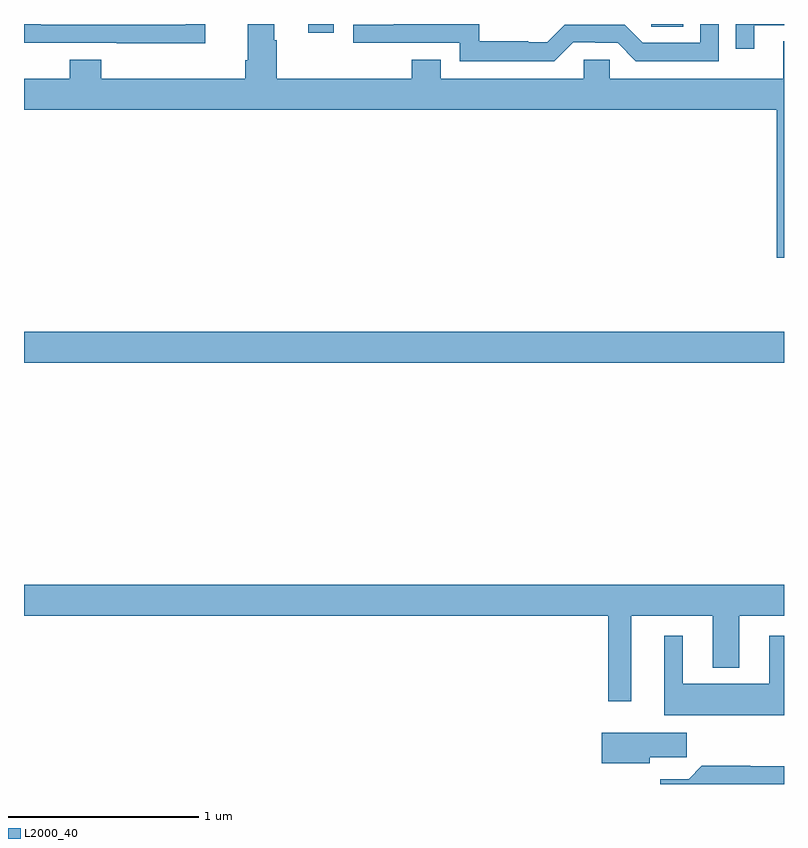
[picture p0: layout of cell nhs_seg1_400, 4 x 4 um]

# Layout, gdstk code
import gdstk
lib = gdstk.Library(unit=1e-6, precision=1e-09)
def R(c, l, rs):  # rectangles x0, y0, x1, y1
    for r in rs: c.add(gdstk.rectangle(r[:2], r[2:], *l))
def P(c, l, *ps):  # polygons
    for p in ps: c.add(gdstk.Polygon(p, *l))
L2000_40 = (2000, 40)

nhs_seg1_400 = lib.new_cell('nhs_seg1_400')
R(nhs_seg1_400, L2000_40, [(133,534.416,137,534.58), (134.495,536.154,134.631,536.199), (136.302,536.185,136.47,536.199)])
P(nhs_seg1_400, L2000_40, [(135.891,536.103),(136.007,536.103),(136.007,536.1),(136.125,536.1),(136.221,536.004),(136.656,536.004),(136.656,536.199),(136.56,536.199),(136.56,536.1),(136.257,536.1),(136.161,536.196),(135.846,536.196),(135.753,536.103),(135.653,536.103),(135.653,536.107),(135.396,536.107),(135.396,536.199),(134.946,536.199),(134.946,536.196),(134.733,536.196),(134.733,536.1),(135.294,536.1),(135.294,536.003),(135.791,536.003)],
  [(136.843,536.193),(137,536.193),(137,536.199),(136.747,536.199),(136.747,536.07),(136.843,536.07)],
  [(133.953,536.199),(133.852,536.199),(133.852,536.196),(133.089,536.196),(133.089,536.199),(133,536.199),(133,536.1),(133.489,536.1),(133.489,536.099),(133.953,536.099)],
  [(137,536.107),(136.997,536.107),(136.997,535.912),(136.083,535.912),(136.083,536.01),(135.945,536.01),(135.945,535.912),(135.193,535.912),(135.193,536.011),(135.041,536.011),(135.041,535.912),(134.33,535.912),(134.33,536.114),(134.317,536.114),(134.317,536.199),(134.177,536.199),(134.177,536.008),(134.165,536.008),(134.165,535.912),(133.406,535.912),(133.406,536.011),(133.241,536.011),(133.241,535.912),(133,535.912),(133,535.748),(136.961,535.748),(136.961,534.969),(137,534.969)],
  [(136.195,533.084),(136.625,533.084),(136.625,532.811),(136.765,532.811),(136.765,533.084),(137,533.084),(137,533.248),(133,533.248),(133,533.084),(136.074,533.084),(136.074,532.635),(136.195,532.635)],
  [(137,532.978),(136.922,532.978),(136.922,532.726),(136.468,532.726),(136.468,532.978),(136.37,532.978),(136.37,532.562),(137,532.562)],
  [(136.294,532.339),(136.489,532.339),(136.489,532.468),(136.04,532.468),(136.04,532.307),(136.294,532.307)],
  [(137,532.292),(136.823,532.292),(136.823,532.295),(136.568,532.295),(136.498,532.225),(136.349,532.225),(136.349,532.199),(137,532.199)])

lib.write_gds('nhs_seg1_400.gds')
